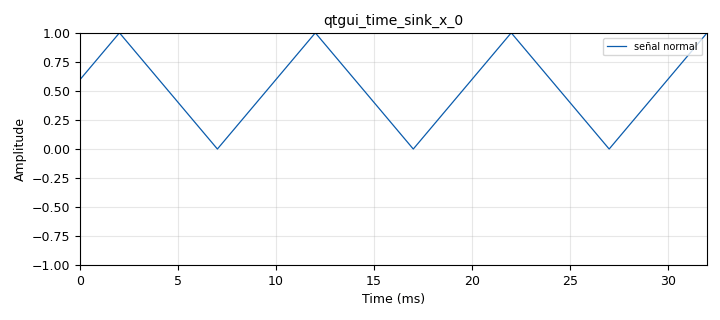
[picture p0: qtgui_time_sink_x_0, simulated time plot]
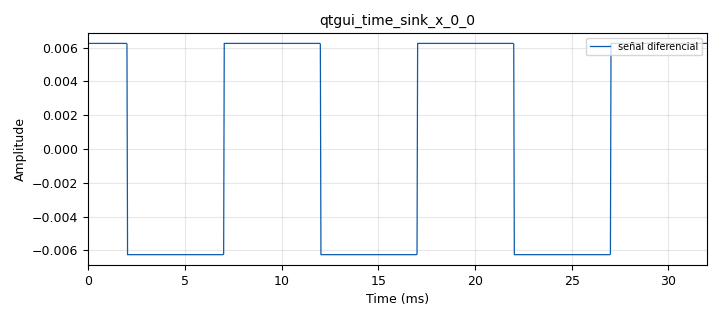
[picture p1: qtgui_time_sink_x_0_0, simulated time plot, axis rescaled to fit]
options:
  parameters:
    generate_options: qt_gui
    id: diferenciador
    output_language: python
    title: Not titled yet
  states: {}

blocks:
- name: samp_rate
  id: variable
  parameters:
    value: '32000'
  states: {}
- name: analog_sig_source_x_0
  id: analog_sig_source_x
  parameters:
    amp: '1'
    freq: '100'
    offset: '0'
    phase: '0'
    samp_rate: samp_rate
    type: float
    waveform: analog.GR_TRI_WAVE
  states: {}
- name: epy_block_0
  id: epy_block
  parameters:
    _source_code: |
      import numpy as np
      from gnuradio import gr

      class blk(gr.sync_block):
          def __init__(self):
              gr.sync_block.__init__(
                  self,
                  name='Diferenciador Python',   # Nombre que verás en GRC
                  in_sig=[np.float32],           # Tipo de entrada: float
                  out_sig=[np.float32]           # Tipo de salida: float
              )
              # Variable para guardar el último valor de la ráfaga anterior
              self.last_sample = 0.0

          def work(self, input_items, output_items):
              in0 = input_items[0]
              out = output_items[0]
              
              # Creamos un vector desplazado que incluya la última muestra del bloque anterior
              # Esto evita picos de error entre ráfagas de datos
              temp_input = np.insert(in0, 0, self.last_sample)
              
              # Calculamos la diferencia: out[n] = in[n] - in[n-1]
              out[:] = np.diff(temp_input)
              
              # Guardamos la última muestra actual para el próximo ciclo
              self.last_sample = in0[-1]
              
              return len(out)
  states: {}
- name: qtgui_time_sink_x_0
  id: qtgui_time_sink_x
  parameters:
    label1: señal normal
    size: '1024'
    srate: samp_rate
    type: float
  states: {}
- name: qtgui_time_sink_x_0_0
  id: qtgui_time_sink_x
  parameters:
    label1: señal diferencial
    size: '1024'
    srate: samp_rate
    type: float
  states: {}

connections:
- [analog_sig_source_x_0, '0', epy_block_0, '0']
- [analog_sig_source_x_0, '0', qtgui_time_sink_x_0, '0']
- [epy_block_0, '0', qtgui_time_sink_x_0_0, '0']

metadata:
  file_format: 1
  grc_version: 3.10.12.0
